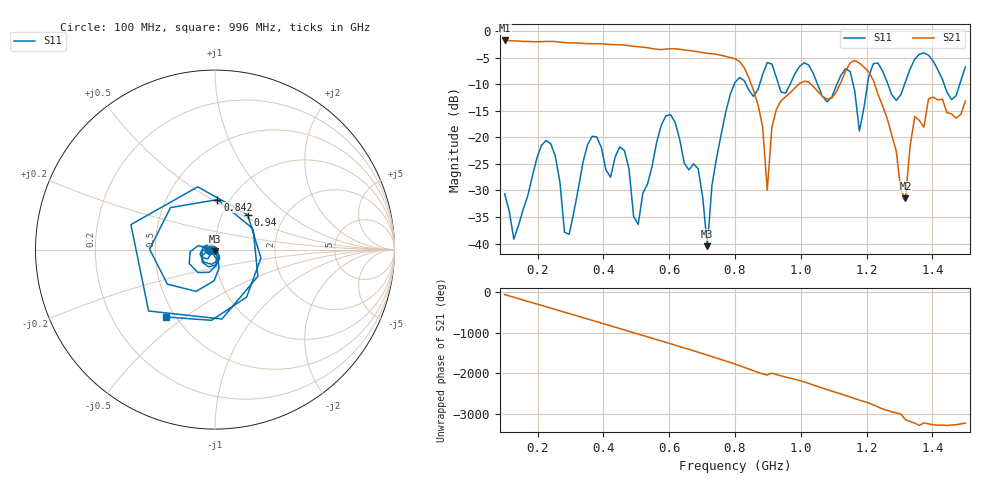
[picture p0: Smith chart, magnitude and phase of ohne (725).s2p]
! NanoVNA-App
! Date: 2025-09-25 14:26:26
! Start: 100MHz Stop: 1,5GHz Points: 101
! S-Parameter data: F S11 S21 S12 S22
# Hz S RI R 50
!  Frequency  S11_Real  S11_Imag  S21_Real  S21_Imag  S12_Real  S12_Imag  S22_Real  S22_Imag
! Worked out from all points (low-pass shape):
!   101 points, 100 MHz to 1.5 GHz, reference 50 ohm
!   highest |S21| = -1.79 dB at 100 MHz (marker M1); lowest = -31.5 dB at 1.318 GHz (marker M2)
!   |S21| within 3 dB of the highest: start of sweep to 771.7 MHz
!   lowest |S11| = -40.5 dB at 716 MHz (marker M3), VSWR 1.02, Z = 49.9 - j0.935 ohm
!   |S11| at or under -10 dB: start of sweep to 798 MHz; 833.3 MHz to 875 MHz (41.8 MHz wide, 4.89 % of centre); 1.051 GHz to 1.11 GHz (59.46 MHz wide, 5.5 % of centre) (the widest 3 of 7)
!   S12 and S22 are empty: the file has one direction only
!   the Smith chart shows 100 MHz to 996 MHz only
!   S11 on the Smith chart (normalised r, x): 100 MHz: 0.94, -0.01; 842 MHz: 0.88, +0.53; 940 MHz: 1.32, +0.55; 996 MHz: 0.45, -0.43
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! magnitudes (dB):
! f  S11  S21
! 100 MHz  -30.6  -1.8
! 128 MHz  -39.1  -1.9
! 226 MHz  -20.6  -2.0
! 296 MHz  -38.2  -2.2
! 338 MHz  -24.7  -2.4
! 464 MHz  -22.5  -2.7
! 506 MHz  -36.4  -3.0
! 576 MHz  -17.7  -3.5
! 688 MHz  -25.9  -3.9
! 716 MHz  -40.5  -4.2
! 800 MHz  -9.7  -5.2
! 842 MHz  -11.1  -8.8
! 898 MHz  -6.0  -30.0
! 940 MHz  -11.5  -13.1
! 996 MHz  -6.7  -9.9
! 1.038 GHz  -8.0  -10.5
! 1.178 GHz  -18.8  -6.1
! 1.22 GHz  -6.2  -9.2
! 1.276 GHz  -12.0  -19.5
! 1.318 GHz  -9.6  -31.5
! 1.346 GHz  -5.3  -16.1
! 1.5 GHz  -6.8  -13.2
